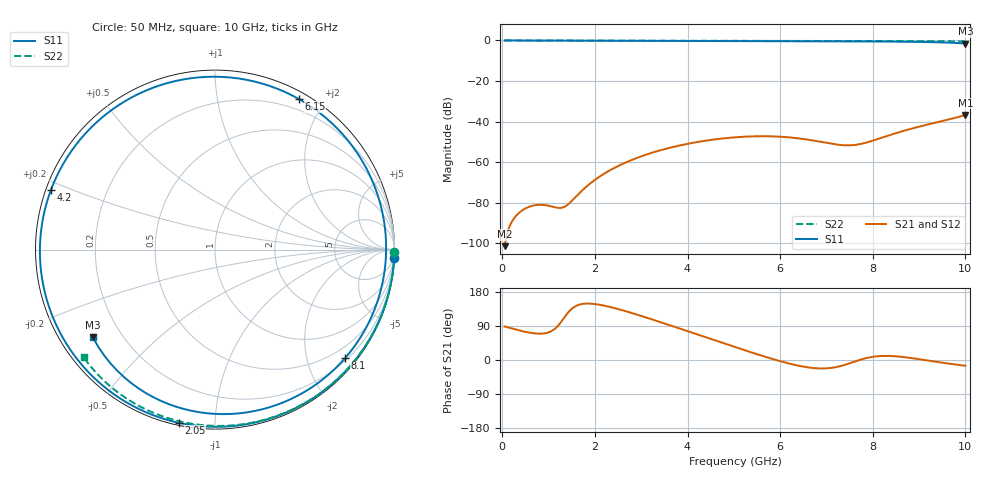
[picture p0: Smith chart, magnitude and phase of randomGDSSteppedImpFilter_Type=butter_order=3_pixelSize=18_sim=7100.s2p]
! freq	dB(S11)	phase(S11)	dB(S12)	phase(S12)
!  dB(S21)	phase(S21)	dB(S22)	phase(S22)
!S-par simulation data
#  GHz  S  DB  R 50
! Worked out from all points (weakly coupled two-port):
!   200 points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, 50 MHz to 10 GHz, reference 50 ohm
!   highest |S21| = -36.79 dB at 10 GHz (marker M1); lowest = -101.5 dB at 50 MHz (marker M2)
!   lowest |S11| = -1.5 dB at 10 GHz (marker M3), VSWR 11.34, Z = 4.86 - j16 ohm
!   |S11| at or under -10 dB: nowhere
!   |S22| runs from -0.5 to 0.0 dB; largest |S21 - S12| = 0
!   S11 on the Smith chart (normalised r, x): 50 MHz: 0, -44; 2.05 GHz: 0.01, -0.81; 4.2 GHz: 0.01, +0.18; 6.15 GHz: 0.08, +1.70; 8.1 GHz: 0.25, -2.74; 10 GHz: 0.10, -0.32
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0.05  -0.00 -2.6  -101.46 88.5  -101.46 88.5  -0.00 -0.8
0.65  -0.04 -33.6  -81.55 71.0  -81.55 71.0  -0.01 -10.6
1.05  -0.07 -53.7  -81.78 75.4  -81.78 75.4  -0.02 -17.0
1.45  -0.09 -73.4  -80.28 129.3  -80.28 129.3  -0.03 -23.4
1.75  -0.11 -87.7  -73.45 148.3  -73.45 148.3  -0.04 -28.1
2.05  -0.12 -101.8  -67.94 146.8  -67.94 146.8  -0.04 -32.8
2.65  -0.15 -129.3  -60.34 129.3  -60.34 129.3  -0.05 -42.1
3.4  -0.19 -163.2  -54.24 100.5  -54.24 100.5  -0.07 -53.5
3.8  -0.22 178.6  -51.94 84.3  -51.94 84.3  -0.08 -59.4
4.2  -0.24 160.0  -50.14 67.9  -50.14 67.9  -0.09 -65.2
4.6  -0.27 140.9  -48.77 51.5  -48.77 51.5  -0.10 -70.9
5.05  -0.29 118.6  -47.73 33.2  -47.73 33.2  -0.12 -77.2
5.6  -0.33 90.2  -47.23 11.5  -47.23 11.5  -0.14 -84.8
6.15  -0.35 60.9  -47.72 -8.0  -47.72 -8.0  -0.16 -92.2
6.7  -0.38 31.4  -49.30 -20.9  -49.30 -20.9  -0.19 -99.4
7.35  -0.42 -2.6  -51.64 -14.6  -51.64 -14.6  -0.23 -107.8
8.1  -0.50 -39.9  -48.70 9.9  -48.70 9.9  -0.29 -117.2
8.35  -0.54 -51.9  -46.81 10.7  -46.81 10.7  -0.31 -120.3
8.8  -0.65 -73.5  -43.73 5.7  -43.73 5.7  -0.35 -125.9
9.25  -0.82 -95.9  -41.12 -2.5  -41.12 -2.5  -0.39 -131.4
9.65  -1.08 -118.7  -38.93 -9.7  -38.93 -9.7  -0.44 -136.4
10  -1.54 -144.3  -36.79 -15.2  -36.79 -15.2  -0.48 -140.7
